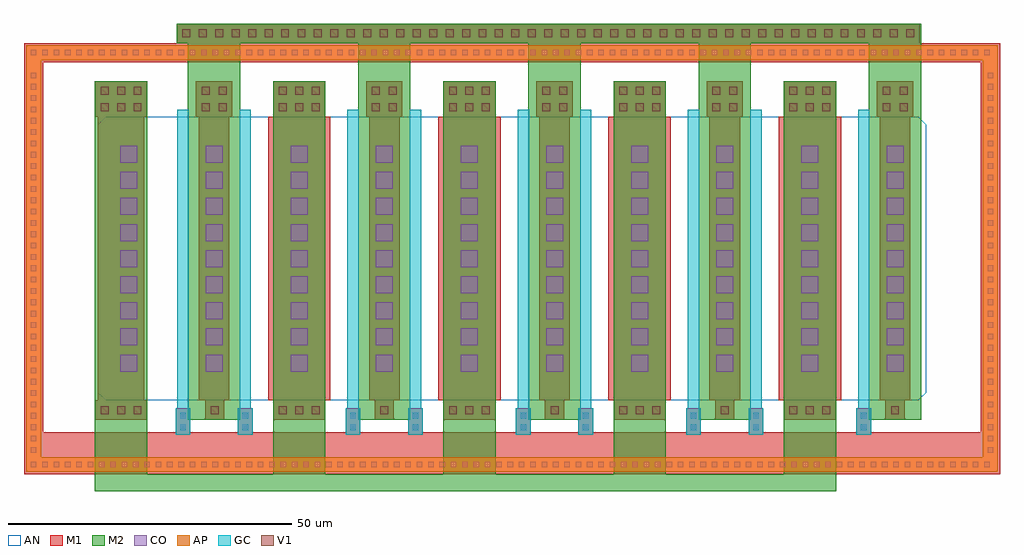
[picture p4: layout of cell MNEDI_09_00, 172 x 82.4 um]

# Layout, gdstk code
import gdstk
lib = gdstk.Library(unit=1e-6, precision=1e-09)
def R(c, l, rs):  # rectangles x0, y0, x1, y1
    for r in rs: c.add(gdstk.rectangle(r[:2], r[2:], *l))
def A(c, l, x, y, w, h, nx, ny, dx, dy):  # array of equal rectangles
    R(c, l, [(x+i*dx, y+j*dy, x+i*dx+w, y+j*dy+h) for i in range(nx) for j in range(ny)])
def P(c, l, *ps):  # polygons
    for p in ps: c.add(gdstk.Polygon(p, *l))
AP = (3, 1)
AN = (3, 2)
GC = (8, 1)
CO = (11, 0)
M1 = (13, 0)
V1 = (19, 0)
M2 = (20, 0)

wlmn_cdns_696586982803 = lib.new_cell('WLMN_CDNS_696586982803')

tc14_cdns_696586982800 = lib.new_cell('TC14_CDNS_696586982800')
R(tc14_cdns_696586982800, M1, [(-65.5,-1.7,65.5,1.7)])
A(tc14_cdns_696586982800, V1, -64.5, -0.7, 1.4, 1.4, 45, 1, 2.9, 0)
R(tc14_cdns_696586982800, M2, [(-65.5,-1.7,65.5,1.7)])

tc14_cdns_696586982801 = lib.new_cell('TC14_CDNS_696586982801')
R(tc14_cdns_696586982801, M1, [(-4.6,-3.1,4.6,3.2)])
A(tc14_cdns_696586982801, V1, -3.6, -2.1, 1.4, 1.4, 3, 2, 2.9, 2.9)
R(tc14_cdns_696586982801, M2, [(-4.6,-3.1,4.6,3.2)])

tc14_cdns_696586982802 = lib.new_cell('TC14_CDNS_696586982802')
R(tc14_cdns_696586982802, M1, [(-1.7,-3.1,1.7,3.2)])
R(tc14_cdns_696586982802, V1, [(-0.7,-2.1,0.7,-0.7), (-0.7,0.8,0.7,2.2)])
R(tc14_cdns_696586982802, M2, [(-1.7,-3.1,1.7,3.2)])

tc14_cdns_696586982803 = lib.new_cell('TC14_CDNS_696586982803')
R(tc14_cdns_696586982803, M1, [(-4.6,-1.7,4.6,1.7)])
A(tc14_cdns_696586982803, V1, -3.6, -0.7, 1.4, 1.4, 3, 1, 2.9, 0)
R(tc14_cdns_696586982803, M2, [(-4.6,-1.7,4.6,1.7)])

tc14_cdns_696586982804 = lib.new_cell('TC14_CDNS_696586982804')
R(tc14_cdns_696586982804, M1, [(-1.7,-1.7,1.7,1.7)])
R(tc14_cdns_696586982804, V1, [(-0.7,-0.7,0.7,0.7)])
R(tc14_cdns_696586982804, M2, [(-1.7,-1.7,1.7,1.7)])

sgct_cdns_696586982805 = lib.new_cell('SGCT_CDNS_696586982805')
R(sgct_cdns_696586982805, GC, [(-1.3,-2.3,1.3,2.3)])
R(sgct_cdns_696586982805, CO, [(-0.5,-1.5,0.5,-0.5), (-0.5,0.5,0.5,1.5)])
R(sgct_cdns_696586982805, M1, [(-1.3,-2.3,1.3,2.3)])

mnedi_09_00 = lib.new_cell('MNEDI_09_00')
P(mnedi_09_00, AP, [(5,5),(5,77.6),(7.6,77.6),(7.6,7.6),(173.6,7.6),(173.6,77.6),(5,77.6),(5,80.2),(176.2,80.2),(176.2,5)])
P(mnedi_09_00, AN, [(19,17.6),(17.6,19),(17.6,66.2),(19,67.6),(162.2,67.6),(163.6,66.2),(163.6,19),(162.2,17.6)],
  [(19,17.6),(17.6,19),(17.6,66.2),(19,67.6),(162.2,67.6),(163.6,66.2),(163.6,19),(162.2,17.6)])
R(mnedi_09_00, GC, [(31.6,16.2,33.6,68.8), (42.6,16.2,44.6,68.8), (61.6,16.2,63.6,68.8), (72.6,16.2,74.6,68.8), (91.6,16.2,93.6,68.8), (102.6,16.2,104.6,68.8), (121.6,16.2,123.6,68.8), (132.6,16.2,134.6,68.8), (151.6,16.2,153.6,68.8)])
A(mnedi_09_00, CO, 5.8, 5.8, 1, 1, 85, 2, 2, 72.6)
A(mnedi_09_00, CO, 5.8, 8.4, 1, 1, 1, 34, 0, 2)
A(mnedi_09_00, CO, 174.4, 8.4, 1, 1, 1, 34, 0, 2)
A(mnedi_09_00, CO, 21.6, 22.7, 3, 3, 1, 9, 0, 4.6)
A(mnedi_09_00, CO, 156.6, 22.7, 3, 3, 1, 9, 0, 4.6)
R(mnedi_09_00, CO, [(36.6,22.7,39.6,25.7), (36.6,22.7,39.6,25.7), (51.6,22.7,54.6,25.7), (51.6,22.7,54.6,25.7), (66.6,22.7,69.6,25.7), (66.6,22.7,69.6,25.7), (81.6,22.7,84.6,25.7), (81.6,22.7,84.6,25.7), (96.6,22.7,99.6,25.7), (96.6,22.7,99.6,25.7), (111.6,22.7,114.6,25.7), (111.6,22.7,114.6,25.7), (126.6,22.7,129.6,25.7), (126.6,22.7,129.6,25.7), (141.6,22.7,144.6,25.7), (141.6,22.7,144.6,25.7), (36.6,27.3,39.6,30.3), (36.6,27.3,39.6,30.3), (51.6,27.3,54.6,30.3), (51.6,27.3,54.6,30.3), (66.6,27.3,69.6,30.3), (66.6,27.3,69.6,30.3), (81.6,27.3,84.6,30.3), (81.6,27.3,84.6,30.3), (96.6,27.3,99.6,30.3), (96.6,27.3,99.6,30.3), (111.6,27.3,114.6,30.3), (111.6,27.3,114.6,30.3), (126.6,27.3,129.6,30.3), (126.6,27.3,129.6,30.3), (141.6,27.3,144.6,30.3), (141.6,27.3,144.6,30.3), (36.6,31.9,39.6,34.9), (36.6,31.9,39.6,34.9), (51.6,31.9,54.6,34.9), (51.6,31.9,54.6,34.9), (66.6,31.9,69.6,34.9), (66.6,31.9,69.6,34.9), (81.6,31.9,84.6,34.9), (81.6,31.9,84.6,34.9), (96.6,31.9,99.6,34.9), (96.6,31.9,99.6,34.9), (111.6,31.9,114.6,34.9), (111.6,31.9,114.6,34.9), (126.6,31.9,129.6,34.9), (126.6,31.9,129.6,34.9), (141.6,31.9,144.6,34.9), (141.6,31.9,144.6,34.9), (36.6,36.5,39.6,39.5), (36.6,36.5,39.6,39.5), (51.6,36.5,54.6,39.5), (51.6,36.5,54.6,39.5), (66.6,36.5,69.6,39.5), (66.6,36.5,69.6,39.5), (81.6,36.5,84.6,39.5), (81.6,36.5,84.6,39.5), (96.6,36.5,99.6,39.5), (96.6,36.5,99.6,39.5), (111.6,36.5,114.6,39.5), (111.6,36.5,114.6,39.5), (126.6,36.5,129.6,39.5), (126.6,36.5,129.6,39.5), (141.6,36.5,144.6,39.5), (141.6,36.5,144.6,39.5), (36.6,41.1,39.6,44.1), (36.6,41.1,39.6,44.1), (51.6,41.1,54.6,44.1), (51.6,41.1,54.6,44.1), (66.6,41.1,69.6,44.1), (66.6,41.1,69.6,44.1), (81.6,41.1,84.6,44.1), (81.6,41.1,84.6,44.1), (96.6,41.1,99.6,44.1), (96.6,41.1,99.6,44.1), (111.6,41.1,114.6,44.1), (111.6,41.1,114.6,44.1), (126.6,41.1,129.6,44.1), (126.6,41.1,129.6,44.1), (141.6,41.1,144.6,44.1), (141.6,41.1,144.6,44.1), (36.6,45.7,39.6,48.7), (36.6,45.7,39.6,48.7), (51.6,45.7,54.6,48.7), (51.6,45.7,54.6,48.7), (66.6,45.7,69.6,48.7), (66.6,45.7,69.6,48.7), (81.6,45.7,84.6,48.7), (81.6,45.7,84.6,48.7), (96.6,45.7,99.6,48.7), (96.6,45.7,99.6,48.7), (111.6,45.7,114.6,48.7), (111.6,45.7,114.6,48.7), (126.6,45.7,129.6,48.7), (126.6,45.7,129.6,48.7), (141.6,45.7,144.6,48.7), (141.6,45.7,144.6,48.7), (36.6,50.3,39.6,53.3), (36.6,50.3,39.6,53.3), (51.6,50.3,54.6,53.3), (51.6,50.3,54.6,53.3), (66.6,50.3,69.6,53.3), (66.6,50.3,69.6,53.3), (81.6,50.3,84.6,53.3), (81.6,50.3,84.6,53.3), (96.6,50.3,99.6,53.3), (96.6,50.3,99.6,53.3), (111.6,50.3,114.6,53.3), (111.6,50.3,114.6,53.3), (126.6,50.3,129.6,53.3), (126.6,50.3,129.6,53.3), (141.6,50.3,144.6,53.3), (141.6,50.3,144.6,53.3), (36.6,54.9,39.6,57.9), (36.6,54.9,39.6,57.9), (51.6,54.9,54.6,57.9), (51.6,54.9,54.6,57.9), (66.6,54.9,69.6,57.9), (66.6,54.9,69.6,57.9), (81.6,54.9,84.6,57.9), (81.6,54.9,84.6,57.9), (96.6,54.9,99.6,57.9), (96.6,54.9,99.6,57.9), (111.6,54.9,114.6,57.9), (111.6,54.9,114.6,57.9), (126.6,54.9,129.6,57.9), (126.6,54.9,129.6,57.9), (141.6,54.9,144.6,57.9), (141.6,54.9,144.6,57.9), (36.6,59.5,39.6,62.5), (36.6,59.5,39.6,62.5), (51.6,59.5,54.6,62.5), (51.6,59.5,54.6,62.5), (66.6,59.5,69.6,62.5), (66.6,59.5,69.6,62.5), (81.6,59.5,84.6,62.5), (81.6,59.5,84.6,62.5), (96.6,59.5,99.6,62.5), (96.6,59.5,99.6,62.5), (111.6,59.5,114.6,62.5), (111.6,59.5,114.6,62.5), (126.6,59.5,129.6,62.5), (126.6,59.5,129.6,62.5), (141.6,59.5,144.6,62.5), (141.6,59.5,144.6,62.5)])
R(mnedi_09_00, M1, [(5,5,176.2,7.6), (5,7.6,7.6,77.6), (7.6,7.6,173.6,12), (173.6,7.6,176.2,77.6), (17.6,17.6,25.8,67.6), (35.4,17.6,40.8,67.6), (35.4,17.6,40.8,67.6), (47.6,17.6,55.8,67.6), (50.4,17.6,58.6,67.6), (65.4,17.6,70.8,67.6), (65.4,17.6,70.8,67.6), (77.6,17.6,85.8,67.6), (80.4,17.6,88.6,67.6), (95.4,17.6,100.8,67.6), (95.4,17.6,100.8,67.6), (107.6,17.6,115.8,67.6), (110.4,17.6,118.6,67.6), (125.4,17.6,130.8,67.6), (125.4,17.6,130.8,67.6), (137.6,17.6,145.8,67.6), (140.4,17.6,148.6,67.6), (155.4,17.6,160.8,67.6), (5,77.6,176.2,80.2)])
A(mnedi_09_00, M2, 48.5, 1.6, 9.2, 72.3, 4, 1, 30, 0)
A(mnedi_09_00, M2, 33.5, 14.2, 9.2, 69.8, 5, 1, 30, 0)
R(mnedi_09_00, M2, [(17.1,1.6,18.6,3.1), (17.1,1.6,26.3,73.9), (31.5,83,32.5,84)])
mnedi_09_00.add(gdstk.FlexPath([(6.3,4.6),(6.3,80.6)], 3.4, ends="flush", simple_path=True, layer=13, datatype=0))  # M1
mnedi_09_00.add(gdstk.FlexPath([(4.6,78.9),(176.6,78.9)], 3.4, ends="flush", simple_path=True, layer=13, datatype=0))  # M1
mnedi_09_00.add(gdstk.FlexPath([(4.6,6.3),(176.2,6.3)], 3.4, ends="flush", simple_path=True, layer=13, datatype=0))  # M1
mnedi_09_00.add(gdstk.FlexPath([(174.9,4.6),(174.9,80.6)], 3.4, ends="flush", simple_path=True, layer=13, datatype=0))  # M1
mnedi_09_00.add(gdstk.FlexPath([(147.7,3.1),(17.1,3.1)], 3, ends="flush", simple_path=True, layer=20, datatype=0))  # M2
mnedi_09_00.add(gdstk.Reference(wlmn_cdns_696586982803, (0,0)))
mnedi_09_00.add(gdstk.Reference(tc14_cdns_696586982800, (97,82.3)))
mnedi_09_00.add(gdstk.Reference(tc14_cdns_696586982801, (143.1,70.7)))
mnedi_09_00.add(gdstk.Reference(tc14_cdns_696586982801, (113.1,70.7)))
mnedi_09_00.add(gdstk.Reference(tc14_cdns_696586982801, (83.1,70.7)))
mnedi_09_00.add(gdstk.Reference(tc14_cdns_696586982801, (53.1,70.7)))
mnedi_09_00.add(gdstk.Reference(tc14_cdns_696586982801, (21.7,70.7)))
mnedi_09_00.add(gdstk.Reference(tc14_cdns_696586982802, (159.6,70.7)))
mnedi_09_00.add(gdstk.Reference(tc14_cdns_696586982802, (156.6,70.7)))
mnedi_09_00.add(gdstk.Reference(tc14_cdns_696586982802, (129.6,70.7)))
mnedi_09_00.add(gdstk.Reference(tc14_cdns_696586982802, (126.6,70.7)))
mnedi_09_00.add(gdstk.Reference(tc14_cdns_696586982802, (99.6,70.7)))
mnedi_09_00.add(gdstk.Reference(tc14_cdns_696586982802, (96.6,70.7)))
mnedi_09_00.add(gdstk.Reference(tc14_cdns_696586982802, (69.6,70.7)))
mnedi_09_00.add(gdstk.Reference(tc14_cdns_696586982802, (66.6,70.7)))
mnedi_09_00.add(gdstk.Reference(tc14_cdns_696586982802, (39.6,70.7)))
mnedi_09_00.add(gdstk.Reference(tc14_cdns_696586982802, (36.6,70.7)))
mnedi_09_00.add(gdstk.Reference(tc14_cdns_696586982803, (143.1,15.9)))
mnedi_09_00.add(gdstk.Reference(tc14_cdns_696586982803, (113.1,15.9)))
mnedi_09_00.add(gdstk.Reference(tc14_cdns_696586982803, (83.1,15.9)))
mnedi_09_00.add(gdstk.Reference(tc14_cdns_696586982803, (53.1,15.9)))
mnedi_09_00.add(gdstk.Reference(tc14_cdns_696586982803, (21.7,15.9)))
mnedi_09_00.add(gdstk.Reference(tc14_cdns_696586982804, (158.1,15.9)))
mnedi_09_00.add(gdstk.Reference(tc14_cdns_696586982804, (128.1,15.9)))
mnedi_09_00.add(gdstk.Reference(tc14_cdns_696586982804, (98.1,15.9)))
mnedi_09_00.add(gdstk.Reference(tc14_cdns_696586982804, (68.1,15.9)))
mnedi_09_00.add(gdstk.Reference(tc14_cdns_696586982804, (38.2,15.9)))
mnedi_09_00.add(gdstk.Reference(sgct_cdns_696586982805, (152.6,13.9)))
mnedi_09_00.add(gdstk.Reference(sgct_cdns_696586982805, (133.6,13.9)))
mnedi_09_00.add(gdstk.Reference(sgct_cdns_696586982805, (122.6,13.9)))
mnedi_09_00.add(gdstk.Reference(sgct_cdns_696586982805, (103.6,13.9)))
mnedi_09_00.add(gdstk.Reference(sgct_cdns_696586982805, (92.6,13.9)))
mnedi_09_00.add(gdstk.Reference(sgct_cdns_696586982805, (73.6,13.9)))
mnedi_09_00.add(gdstk.Reference(sgct_cdns_696586982805, (62.6,13.9)))
mnedi_09_00.add(gdstk.Reference(sgct_cdns_696586982805, (43.6,13.9)))
mnedi_09_00.add(gdstk.Reference(sgct_cdns_696586982805, (32.6,13.9)))

lib.write_gds('MNEDI_09_00.gds')
